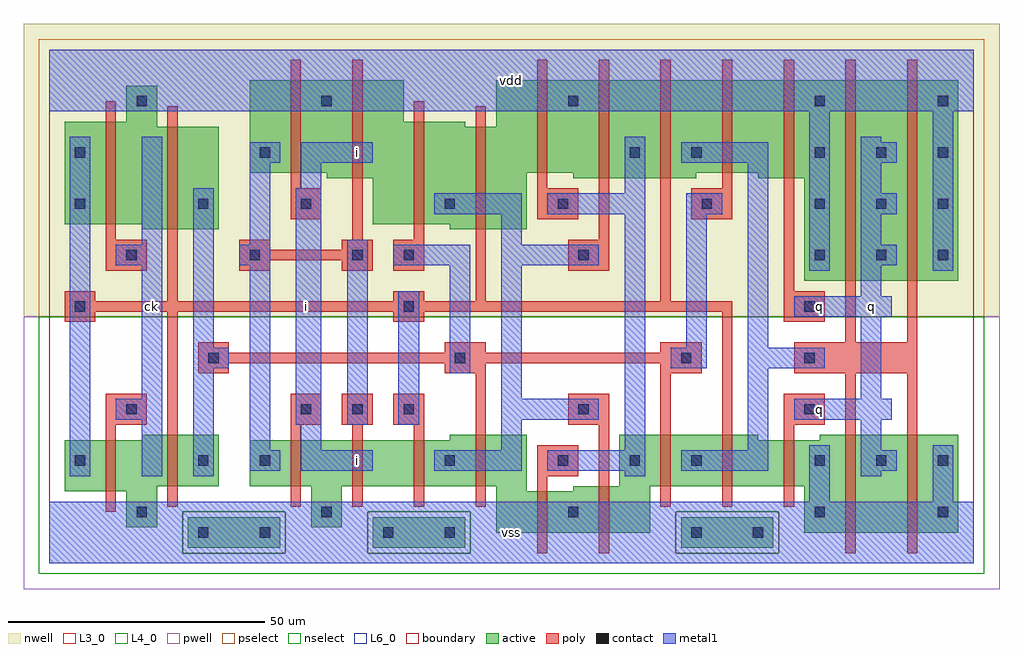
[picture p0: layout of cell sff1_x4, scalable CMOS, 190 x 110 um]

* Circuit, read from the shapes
.subckt sff1_x4 ck i q vdd vss
M1 vss ck n1 vss nfet w=10u l=2u
M2 n2 n1 vss vss nfet w=10u l=2u
M3 vss i n3 vss nfet w=9u l=2u
M4 n4 n3 vss vss nfet w=9u l=2u
M5 n5 n1 n4 vss nfet w=9u l=2u
M6 n6 n2 n5 vss nfet w=10u l=2u
M7 vss n7 n6 vss nfet w=8u l=2u
M8 n7 n5 vss vss nfet w=9u l=2u
M9 n8 n2 n7 vss nfet w=10u l=2u
M10 n9 n1 n8 vss nfet w=10u l=2u
M11 vss q n9 vss nfet w=9u l=2u
M12 q n8 vss vss nfet w=19u l=2u m=2
M13 vdd ck n1 n10 pfet w=20u l=2u
M14 n2 n1 vdd n10 pfet w=20u l=2u
M15 vdd i n3 n10 pfet w=18u l=2u
M16 n11 n3 vdd n10 pfet w=19u l=2u
M17 n5 n2 n11 n10 pfet w=20u l=2u
M18 n12 n1 n5 n10 pfet w=20u l=2u
M19 vdd n7 n12 n10 pfet w=18u l=2u
M20 n7 n5 vdd n10 pfet w=19u l=2u
M21 n8 n1 n7 n10 pfet w=19u l=2u
M22 n13 n2 n8 n10 pfet w=18u l=2u
M23 vdd q n13 n10 pfet w=19u l=2u
M24 q n8 vdd n10 pfet w=39u l=2u m=2
.ends

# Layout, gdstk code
import gdstk
lib = gdstk.Library(unit=1e-6, precision=1e-09)
def R(c, l, rs):  # rectangles x0, y0, x1, y1
    for r in rs: c.add(gdstk.rectangle(r[:2], r[2:], *l))
def A(c, l, x, y, w, h, nx, ny, dx, dy):  # array of equal rectangles
    R(c, l, [(x+i*dx, y+j*dy, x+i*dx+w, y+j*dy+h) for i in range(nx) for j in range(ny)])
L3_0 = (3, 0)
L4_0 = (4, 0)
L6_0 = (6, 0)
contact = (25, 0)
pwell = (41, 0)
nwell = (42, 0)
active = (43, 0)
pselect = (44, 0)
nselect = (45, 0)
poly = (46, 0)
metal1 = (49, 0)
boundary = (63, 0)

sff1_x4 = lib.new_cell('sff1_x4')
R(sff1_x4, L3_0, [(87,6,117,14), (147,6,177,15), (15,7,21,14), (51,7,57,15), (3,14,21,15), (87,14,93,15), (102,14,117,15), (3,15,33,24), (39,15,93,24), (111,15,177,24), (18,24,33,25), (78,24,93,25), (111,24,138,25), (150,24,177,25)])
R(sff1_x4, L4_0, [(147,55,177,75), (18,65,33,66), (78,65,93,66), (3,66,33,85), (63,66,93,75), (54,75,93,76), (102,75,126,76), (138,75,177,76), (39,76,177,85), (3,85,21,86), (39,85,81,86), (87,85,177,94), (15,86,21,93), (39,86,69,94)])
R(sff1_x4, L6_0, [(27,3,45,9), (63,3,81,9), (123,3,141,9)])
A(sff1_x4, contact, 53, 9, 2, 2, 3, 2, 48, 80)
A(sff1_x4, contact, 149, 19, 2, 2, 3, 2, 12, 40)
A(sff1_x4, contact, 49, 29, 2, 2, 3, 1, 10, 0)
A(sff1_x4, contact, 147, 29, 2, 2, 1, 3, 0, 10)
A(sff1_x4, contact, 149, 69, 2, 2, 3, 2, 12, 10)
R(sff1_x4, contact, [(29,5,31,7), (41,5,43,7), (65,5,67,7), (77,5,79,7), (125,5,127,7), (137,5,139,7), (17,9,19,11), (173,9,175,11), (5,19,7,21), (29,19,31,21), (41,19,43,21), (77,19,79,21), (99,19,101,21), (113,19,115,21), (125,19,127,21), (15,29,17,31), (103,29,105,31), (31,39,33,41), (79,39,81,41), (123,39,125,41), (5,49,7,51), (69,49,71,51), (15,59,17,61), (39,59,41,61), (59,59,61,61), (69,59,71,61), (103,59,105,61), (5,69,7,71), (29,69,31,71), (49,69,51,71), (77,69,79,71), (99,69,101,71), (127,69,129,71), (5,79,7,81), (41,79,43,81), (113,79,115,81), (125,79,127,81), (17,89,19,91), (173,89,175,91)])
R(sff1_x4, pwell, [(-5,-5,185,48)])
R(sff1_x4, nwell, [(-5,48,185,105)])
R(sff1_x4, active, [(27,3,45,9), (63,3,81,9), (123,3,141,9), (87,6,117,14), (147,6,177,15), (15,7,21,14), (51,7,57,15), (3,14,21,15), (87,14,93,15), (102,14,117,15), (3,15,33,24), (39,15,93,24), (111,15,177,24), (18,24,33,25), (78,24,93,25), (111,24,138,25), (150,24,177,25), (147,55,177,75), (18,65,33,66), (78,65,93,66), (3,66,33,85), (63,66,93,75), (54,75,93,76), (102,75,126,76), (138,75,177,76), (39,76,177,85), (3,85,21,86), (39,85,81,86), (87,85,177,94), (15,86,21,93), (39,86,69,94)])
R(sff1_x4, pselect, [(26,2,46,10), (62,2,82,10), (122,2,142,10), (-2,48,182,102)])
R(sff1_x4, nselect, [(-2,-2,182,2), (-2,2,26,10), (46,2,62,10), (82,2,122,10), (142,2,182,10), (-2,10,182,48)])
A(sff1_x4, poly, 47, 11, 2, 16, 3, 1, 12, 0)
A(sff1_x4, poly, 47, 27, 6, 6, 3, 1, 10, 0)
R(sff1_x4, poly, [(95,2,97,17), (107,2,109,27), (155,2,157,37), (167,2,169,37), (11,10,13,27), (23,11,25,49), (83,11,85,37), (119,11,121,37), (131,11,133,49), (143,11,145,27), (95,17,103,23), (11,27,19,33), (101,27,109,33), (143,27,151,33), (29,37,35,39), (77,37,85,39), (119,37,127,39), (145,37,169,43), (29,39,127,41), (29,41,35,43), (77,41,85,43), (119,41,127,43), (155,43,157,98), (167,43,169,98), (3,47,9,49), (67,47,73,49), (143,47,151,53), (3,49,133,51), (3,51,9,53), (23,51,25,89), (67,51,73,53), (83,51,85,89), (119,51,121,98), (143,53,145,98), (11,57,19,63), (37,57,43,59), (57,57,63,59), (67,57,73,63), (101,57,109,63), (37,59,63,61), (37,61,43,63), (57,61,63,63), (11,63,13,90), (59,63,61,98), (71,63,73,90), (107,63,109,98), (47,67,53,73), (95,67,103,73), (125,67,133,73), (47,73,49,98), (95,73,97,98), (131,73,133,98)])
A(sff1_x4, metal1, 158, 52, 4, 6, 1, 3, 0, 10)
A(sff1_x4, metal1, 158, 58, 7, 4, 1, 3, 0, 10)
R(sff1_x4, metal1, [(0,0,180,12), (148,12,152,23), (172,12,176,23), (4,17,8,83), (18,17,22,28), (28,17,32,38), (112,17,116,18), (158,17,162,18), (39,18,45,22), (49,18,63,22), (75,18,92,22), (97,18,116,22), (123,18,140,22), (158,18,165,22), (39,22,43,58), (49,22,53,27), (88,22,92,28), (112,22,116,68), (136,22,140,38), (158,22,162,28), (48,27,53,73), (58,27,62,63), (68,27,72,53), (13,28,22,32), (88,28,107,32), (145,28,164,32), (18,32,22,58), (88,32,92,58), (158,32,162,48), (78,37,82,58), (28,38,35,42), (121,38,128,42), (136,38,151,42), (28,42,32,73), (124,42,128,68), (136,42,140,78), (145,48,164,52), (148,57,152,88), (172,57,176,88), (13,58,22,62), (37,58,43,62), (67,58,82,62), (88,58,107,62), (18,62,22,83), (39,62,43,78), (88,62,92,68), (75,68,92,72), (97,68,116,72), (124,68,131,72), (112,72,116,83), (49,73,53,78), (39,78,45,82), (49,78,63,82), (123,78,140,82), (158,82,162,83), (0,88,180,100)])
R(sff1_x4, boundary, [(0,0,180,100)])
sff1_x4.add(gdstk.Label('ck', (20,50), layer=49, texttype=0))
sff1_x4.add(gdstk.Label('i', (60,20), layer=49, texttype=0))
sff1_x4.add(gdstk.Label('i', (50,50), layer=49, texttype=0))
sff1_x4.add(gdstk.Label('i', (60,80), layer=49, texttype=0))
sff1_x4.add(gdstk.Label('vss', (90,6), layer=49, texttype=0))
sff1_x4.add(gdstk.Label('vdd', (90,94), layer=49, texttype=0))
sff1_x4.add(gdstk.Label('q', (150,30), layer=49, texttype=0))
sff1_x4.add(gdstk.Label('q', (160,50), layer=49, texttype=0))
sff1_x4.add(gdstk.Label('q', (150,50), layer=49, texttype=0))

lib.write_gds('sff1_x4.gds')
